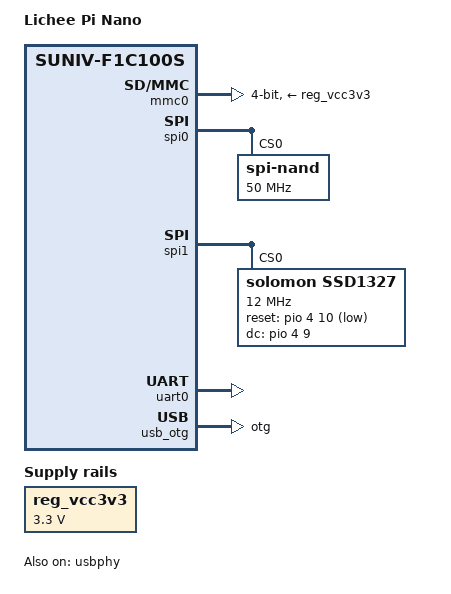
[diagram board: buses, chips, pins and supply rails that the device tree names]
// SPDX-License-Identifier: (GPL-2.0+ OR X11)
/*
 * Copyright 2018 Icenowy Zheng <icenowy@aosc.io>
 */

/dts-v1/;
#include "suniv-f1c100s.dtsi"

#include <dt-bindings/gpio/gpio.h>

/ {
	model = "Lichee Pi Nano";
	compatible = "licheepi,licheepi-nano", "allwinner,suniv-f1c100s";

	aliases {
		mmc0 = &mmc0;
		serial0 = &uart0;
		spi0 = &spi0;
		spi1 = &spi1;
	};

	chosen {
		stdout-path = "serial0:115200n8";
	};

	reg_vcc3v3: vcc3v3 {
		compatible = "regulator-fixed";
		regulator-name = "vcc3v3";
		regulator-min-microvolt = <3300000>;
		regulator-max-microvolt = <3300000>;
	};
};

&mmc0 {
	broken-cd;
	bus-width = <4>;
	disable-wp;
	status = "okay";
	vmmc-supply = <&reg_vcc3v3>;
};

&spi0 {
	pinctrl-names = "default";
	pinctrl-0 = <&spi0_pc_pins>;
	status = "okay";
	spi-max-frequency = <50000000>;

	spi-nand@0 {
		#address-cells = <1>;
		#size-cells = <1>;
		compatible = "spi-nand";
		reg = <0>;
		spi-max-frequency = <50000000>;
	};
};

&spi1 {
	pinctrl-names = "default";
	pinctrl-0 = <&spi1_pa_pins>;
	status = "okay";
	spi-max-frequency = <50000000>;

	ssd1327@0 {
		#address-cells = <1>;
		#size-cells = <1>;
		compatible = "solomon,ssd1327";
		buswidth = <8>;
		reg = <0>;
		spi-max-frequency = <12000000>;
		spi-cpol;
		spi-cpha;
		reset-gpios = <&pio 4 10 GPIO_ACTIVE_LOW>;
		dc-gpios = <&pio 4 9 GPIO_ACTIVE_HIGH>;
		debug = <1>;
	};

	st7567@0 {
		#address-cells = <1>;
		#size-cells = <1>;
		compatible = "sitronix,st7567";
		status = "disabled";
		buswidth = <8>;
		reg = <0>;
		spi-max-frequency = <1000000>;
		spi-cpol;
		spi-cpha;
		reset-gpios = <&pio 4 10 GPIO_ACTIVE_LOW>;
		dc-gpios = <&pio 4 9 GPIO_ACTIVE_HIGH>;
		debug = <1>;
	};
};

&otg_sram {
	status = "okay";
};

&uart0 {
	pinctrl-names = "default";
	pinctrl-0 = <&uart0_pe_pins>;
	status = "okay";
};

&usb_otg {
	dr_mode = "otg";
	status = "okay";
};

&usbphy {
	usb0_id_det-gpios = <&pio 4 2 GPIO_ACTIVE_HIGH>; /* PE2 */
	status = "okay";
};
